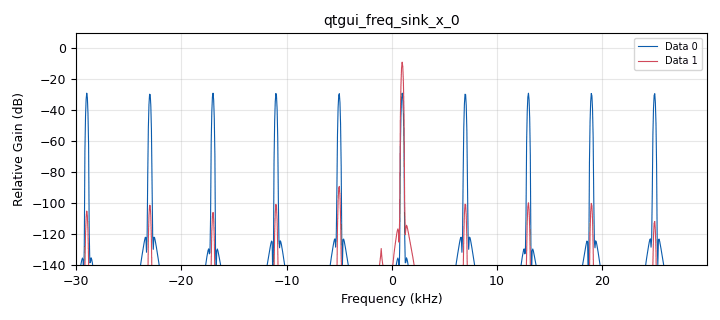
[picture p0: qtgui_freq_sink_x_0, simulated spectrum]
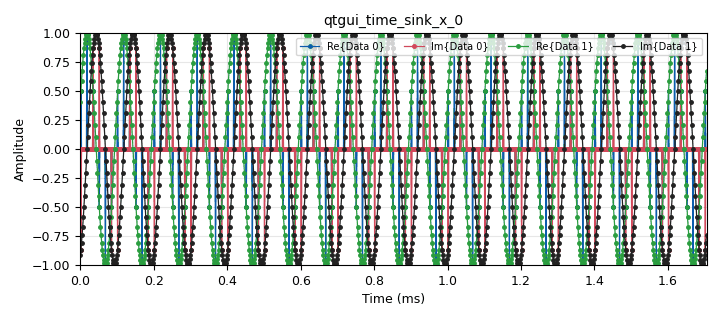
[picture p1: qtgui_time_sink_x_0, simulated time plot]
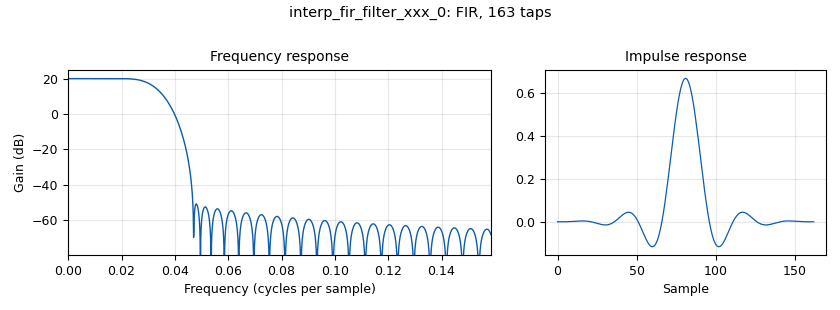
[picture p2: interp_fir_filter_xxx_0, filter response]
<?xml version='1.0' encoding='utf-8'?>
<?grc format='1' created='3.7.11'?>
<flow_graph>
<block>
<key>options</key>
<param><key>id</key><value>upsample_and_filter</value></param>
<param><key>author</key><value>Hans Erik Fjeld</value></param>
<param><key>description</key><value>Testbench for upsampling and filtering</value></param>
<param><key>generate_options</key><value>qt_gui</value></param>
<param><key>title</key><value>Interpolator</value></param>
</block>
<block>
<key>variable_qtgui_range</key>
<param><key>id</key><value>freq</value></param>
<param><key>value</key><value>10e3</value></param>
<param><key>label</key><value>Frequency</value></param>
<param><key>orient</key><value>Qt.Horizontal</value></param>
<param><key>start</key><value>0</value></param>
<param><key>step</key><value>100</value></param>
<param><key>stop</key><value>30e3</value></param>
</block>
<block>
<key>variable</key>
<param><key>id</key><value>iir_pos_coupling_scaler</value></param>
<param><key>value</key><value>[0.3,0.2,0,3]</value></param>
</block>
<block>
<key>variable</key>
<param><key>id</key><value>iir_pos_coupling_scaler_0</value></param>
<param><key>value</key><value>[0.3,0.2,0,3]</value></param>
</block>
<block>
<key>variable</key>
<param><key>id</key><value>interpolating_fir_taps</value></param>
<param><key>value</key><value>[-0.0002766616817098111, -0.00033175433054566383, -0.00036346656270325184, -0.00035864420351572335, -0.00030406005680561066, -0.00018766550056170672, -1.2533614349332111e-18, 0.00026433332823216915, 0.0006052395910955966, 0.0010158788645640016, 0.001481720944866538, 0.00198004231788218, 0.0024799767415970564, 0.002943220781162381, 0.0033254416193813086, 0.0035784076899290085, 0.0036527991760522127, 0.0035016012843698263, 0.003083934308961034, 0.002369105350226164, 0.0013406401267275214, 9.159244364165955e-18, -0.0016303149750456214, -0.0035045843105763197, -0.005552890244871378, -0.00768158957362175, -0.009775402955710888, -0.011701236478984356, -0.013313697651028633, -0.014462219551205635, -0.01499954517930746, -0.014791217632591724, -0.013725627213716507, -0.011724085547029972, -0.008750283159315586, -0.004818509798496962, 9.162128742961927e-18, 0.00557323032990098, 0.011707546189427376, 0.018150286749005318, 0.02459602802991867, 0.030696574598550797, 0.03607456386089325, 0.040340304374694824, 0.04311129078269005, 0.04403361678123474, 0.04280437156558037, 0.03919385373592377, 0.033066511154174805, 0.024399355053901672, 0.013296681456267834, 4.3851309269661405e-17, -0.01510772854089737, -0.03150426223874092, -0.04853706806898117, -0.06543925404548645, -0.08135224133729935, -0.09535452723503113, -0.10649566352367401, -0.11383428424596786, -0.11647855490446091, -0.11362738907337189, -0.1046106144785881, -0.08892614394426346, -0.06627237051725388, -0.03657403215765953, -6.126063882365261e-17, 0.04302799701690674, 0.09183673560619354, 0.1455131620168686, 0.20292629301548004, 0.2627588212490082, 0.3235474228858948, 0.3837302029132843, 0.44169947504997253, 0.49585819244384766, 0.5446767807006836, 0.5867490172386169, 0.6208443641662598, 0.6459535360336304, 0.6613271832466125, 0.6665037274360657, 0.6613271832466125, 0.6459535360336304, 0.6208443641662598, 0.5867490172386169, 0.5446767807006836, 0.49585819244384766, 0.44169947504997253, 0.3837302029132843, 0.3235474228858948, 0.2627588212490082, 0.20292629301548004, 0.1455131620168686, 0.09183673560619354, 0.04302799701690674, -6.126063882365261e-17, -0.03657403215765953, -0.06627237051725388, -0.08892614394426346, -0.1046106144785881, -0.11362738907337189, -0.11647855490446091, -0.11383428424596786, -0.10649566352367401, -0.09535452723503113, -0.08135224133729935, -0.06543925404548645, -0.04853706806898117, -0.03150426223874092, -0.01510772854089737, 4.3851309269661405e-17, 0.013296681456267834, 0.024399355053901672, 0.033066511154174805, 0.03919385373592377, 0.04280437156558037, 0.04403361678123474, 0.04311129078269005, 0.040340304374694824, 0.03607456386089325, 0.030696574598550797, 0.02459602802991867, 0.018150286749005318, 0.011707546189427376, 0.00557323032990098, 9.162128742961927e-18, -0.004818509798496962, -0.008750283159315586, -0.011724085547029972, -0.013725627213716507, -0.014791217632591724, -0.01499954517930746, -0.014462219551205635, -0.013313697651028633, -0.011701236478984356, -0.009775402955710888, -0.00768158957362175, -0.005552890244871378, -0.0035045843105763197, -0.0016303149750456214, 9.159244364165955e-18, 0.0013406401267275214, 0.002369105350226164, 0.003083934308961034, 0.0035016012843698263, 0.0036527991760522127, 0.0035784076899290085, 0.0033254416193813086, 0.002943220781162381, 0.0024799767415970564, 0.00198004231788218, 0.001481720944866538, 0.0010158788645640016, 0.0006052395910955966, 0.00026433332823216915, -1.2533614349332111e-18, -0.00018766550056170672, -0.00030406005680561066, -0.00035864420351572335, -0.00036346656270325184, -0.00033175433054566383, -0.0002766616817098111]</value></param>
</block>
<block>
<key>variable</key>
<param><key>id</key><value>interpolation</value></param>
<param><key>value</key><value>10</value></param>
</block>
<block>
<key>variable</key>
<param><key>id</key><value>samp_rate</value></param>
<param><key>value</key><value>60e3</value></param>
</block>
<block>
<key>analog_const_source_x</key>
<param><key>id</key><value>analog_const_source_x_0</value></param>
<param><key>const</key><value>1</value></param>
<param><key>_enabled</key><value>0</value></param>
<param><key>type</key><value>complex</value></param>
</block>
<block>
<key>analog_fastnoise_source_x</key>
<param><key>id</key><value>analog_fastnoise_source_x_0</value></param>
<param><key>amp</key><value>1</value></param>
<param><key>_enabled</key><value>0</value></param>
<param><key>noise_type</key><value>analog.GR_GAUSSIAN</value></param>
<param><key>type</key><value>complex</value></param>
<param><key>seed</key><value>0</value></param>
<param><key>samples</key><value>8192</value></param>
</block>
<block>
<key>analog_sig_source_x</key>
<param><key>id</key><value>analog_sig_source_x_0</value></param>
<param><key>amp</key><value>1</value></param>
<param><key>freq</key><value>freq</value></param>
<param><key>offset</key><value>0</value></param>
<param><key>type</key><value>complex</value></param>
<param><key>samp_rate</key><value>samp_rate</value></param>
<param><key>waveform</key><value>analog.GR_COS_WAVE</value></param>
</block>
<block>
<key>blocks_delay</key>
<param><key>id</key><value>blocks_delay_0</value></param>
<param><key>delay</key><value>len(interpolating_fir_taps)/2</value></param>
<param><key>type</key><value>complex</value></param>
</block>
<block>
<key>blocks_throttle</key>
<param><key>id</key><value>blocks_throttle_0</value></param>
<param><key>samples_per_second</key><value>samp_rate</value></param>
<param><key>type</key><value>complex</value></param>
</block>
<block>
<key>interp_fir_filter_xxx</key>
<param><key>id</key><value>interp_fir_filter_xxx_0</value></param>
<param><key>interp</key><value>1</value></param>
<param><key>taps</key><value>interpolating_fir_taps</value></param>
<param><key>type</key><value>ccc</value></param>
</block>
<block>
<key>qtgui_freq_sink_x</key>
<param><key>id</key><value>qtgui_freq_sink_x_0</value></param>
<param><key>bw</key><value>samp_rate</value></param>
<param><key>fc</key><value>0</value></param>
<param><key>ctrlpanel</key><value>True</value></param>
<param><key>fftsize</key><value>1024</value></param>
<param><key>gui_hint</key><value>tab@1</value></param>
<param><key>label2</key><value></value></param>
<param><key>nconnections</key><value>2</value></param>
<param><key>showports</key><value>True</value></param>
<param><key>type</key><value>complex</value></param>
<param><key>wintype</key><value>firdes.WIN_BLACKMAN_hARRIS</value></param>
</block>
<block>
<key>qtgui_time_sink_x</key>
<param><key>id</key><value>qtgui_time_sink_x_0</value></param>
<param><key>ctrlpanel</key><value>True</value></param>
<param><key>gui_hint</key><value>tab@0</value></param>
<param><key>color1</key><value>"blue"</value></param>
<param><key>label1</key><value></value></param>
<param><key>marker1</key><value>9</value></param>
<param><key>style1</key><value>4</value></param>
<param><key>color2</key><value>"red"</value></param>
<param><key>label2</key><value></value></param>
<param><key>marker2</key><value>9</value></param>
<param><key>style2</key><value>4</value></param>
<param><key>color3</key><value>"green"</value></param>
<param><key>label3</key><value></value></param>
<param><key>marker3</key><value>0</value></param>
<param><key>style3</key><value>3</value></param>
<param><key>color4</key><value>"black"</value></param>
<param><key>label4</key><value></value></param>
<param><key>marker4</key><value>0</value></param>
<param><key>style4</key><value>3</value></param>
<param><key>nconnections</key><value>2</value></param>
<param><key>size</key><value>1024</value></param>
<param><key>srate</key><value>samp_rate*interpolation</value></param>
<param><key>tr_level</key><value>0.2</value></param>
<param><key>tr_mode</key><value>qtgui.TRIG_MODE_NORM</value></param>
<param><key>type</key><value>complex</value></param>
</block>
<block>
<key>rational_resampler_base_xxx</key>
<param><key>id</key><value>rational_resampler_base_xxx_0</value></param>
<param><key>decim</key><value>1</value></param>
<param><key>interp</key><value>interpolation</value></param>
<param><key>taps</key><value>1</value></param>
<param><key>type</key><value>ccc</value></param>
</block>
<block>
<key>qtgui_tab_widget</key>
<param><key>id</key><value>tab</value></param>
<param><key>label0</key><value>Time</value></param>
<param><key>label1</key><value>Frequency</value></param>
<param><key>num_tabs</key><value>2</value></param>
</block>
<connection><source_block_id>analog_const_source_x_0</source_block_id><sink_block_id>blocks_throttle_0</sink_block_id><source_key>0</source_key><sink_key>0</sink_key></connection>
<connection><source_block_id>analog_fastnoise_source_x_0</source_block_id><sink_block_id>blocks_throttle_0</sink_block_id><source_key>0</source_key><sink_key>0</sink_key></connection>
<connection><source_block_id>analog_sig_source_x_0</source_block_id><sink_block_id>blocks_throttle_0</sink_block_id><source_key>0</source_key><sink_key>0</sink_key></connection>
<connection><source_block_id>blocks_delay_0</source_block_id><sink_block_id>qtgui_freq_sink_x_0</sink_block_id><source_key>0</source_key><sink_key>0</sink_key></connection>
<connection><source_block_id>blocks_delay_0</source_block_id><sink_block_id>qtgui_time_sink_x_0</sink_block_id><source_key>0</source_key><sink_key>0</sink_key></connection>
<connection><source_block_id>blocks_throttle_0</source_block_id><sink_block_id>rational_resampler_base_xxx_0</sink_block_id><source_key>0</source_key><sink_key>0</sink_key></connection>
<connection><source_block_id>interp_fir_filter_xxx_0</source_block_id><sink_block_id>qtgui_freq_sink_x_0</sink_block_id><source_key>0</source_key><sink_key>1</sink_key></connection>
<connection><source_block_id>interp_fir_filter_xxx_0</source_block_id><sink_block_id>qtgui_time_sink_x_0</sink_block_id><source_key>0</source_key><sink_key>1</sink_key></connection>
<connection><source_block_id>rational_resampler_base_xxx_0</source_block_id><sink_block_id>blocks_delay_0</sink_block_id><source_key>0</source_key><sink_key>0</sink_key></connection>
<connection><source_block_id>rational_resampler_base_xxx_0</source_block_id><sink_block_id>interp_fir_filter_xxx_0</sink_block_id><source_key>0</source_key><sink_key>0</sink_key></connection>
</flow_graph>
